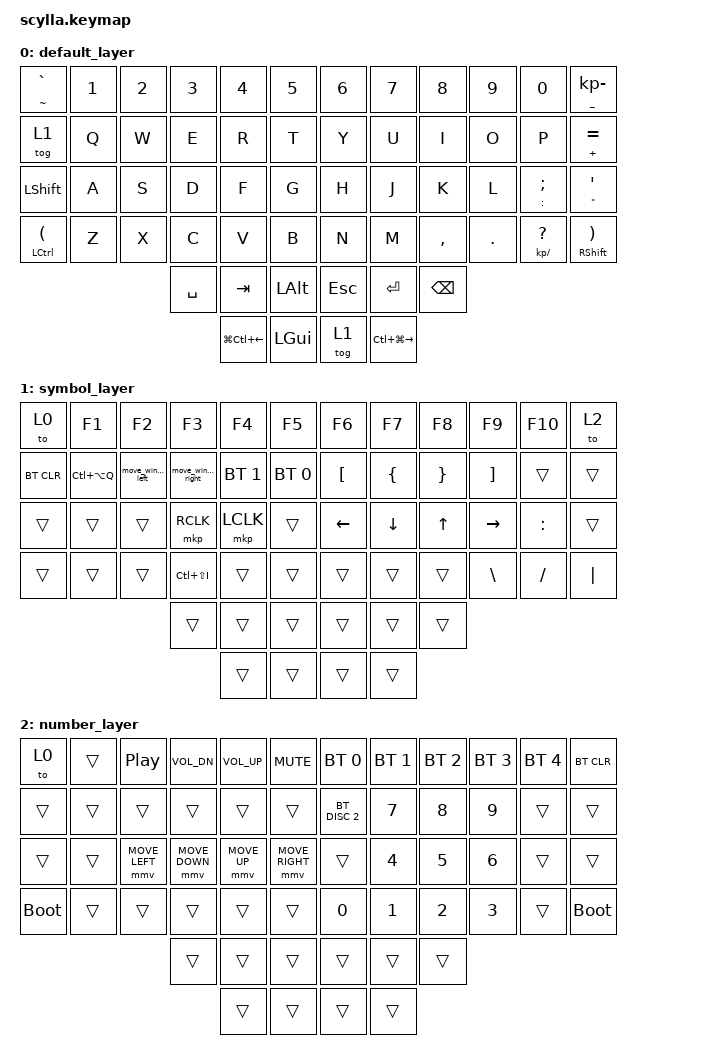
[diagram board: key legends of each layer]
/*
 * Copyright (c) 2020 The ZMK Contributors
 *
 * SPDX-License-Identifier: MIT
 */

#include <behaviors.dtsi>
#include <dt-bindings/zmk/bt.h>
#include <dt-bindings/zmk/keys.h>
#include <dt-bindings/zmk/pointing.h>

&mt {
    flavor = "tap-preferred";
    tapping_term_ms = <200>;
    quick_tap_ms = <200>;
};

/ {
    combos {
        compatible = "zmk,combos";

        forward-slash {
            bindings = <&kp LC(SLASH)>;
            key-positions = <47 31>;
            layers = <0>;
        };
    };

    macros {
        move_window_left: move_window_left {
            compatible = "zmk,behavior-macro";
            #binding-cells = <0>;
            bindings = <&kp LS(LA(LC(H)))>, <&macro_tap>, <&kp LS(LG(LEFT))>;

            label = "MOVE_WINDOW_LEFT";
        };

        move_window_right: move_window_right {
            compatible = "zmk,behavior-macro";
            #binding-cells = <0>;
            bindings = <&kp LS(LA(LC(L)))>, <&macro_tap>, <&kp LS(LG(RIGHT))>;

            label = "MOVE_WINDOW_RIGHT";
        };

        minimize_window: minimize_window {
            compatible = "zmk,behavior-macro";
            #binding-cells = <0>;
            bindings = <&kp LG(DOWN_ARROW)>;
            label = "MINIMIZE_WINDOW";
        };

        maximize_window: maximize_window {
            compatible = "zmk,behavior-macro";
            #binding-cells = <0>;
            bindings = <&kp LG(UP_ARROW)>;
            label = "MAXIMIZE_WINDOW";
        };
    };

    keymap {
        compatible = "zmk,keymap";

        default_layer {
            bindings = <
&mt TILDE GRAVE                    &kp NUMBER_1  &kp NUMBER_2  &kp NUMBER_3  &kp NUMBER_4      &kp NUMBER_5    &kp NUMBER_6  &kp NUMBER_7       &kp NUMBER_8   &kp NUMBER_9  &kp NUMBER_0           &mt UNDERSCORE KP_MINUS
&tog 1                             &kp Q         &kp W         &kp E         &kp R             &kp T           &kp Y         &kp U              &kp I          &kp O         &kp P                  &mt PLUS EQUAL
&kp LEFT_SHIFT                     &kp A         &kp S         &kp D         &kp F             &kp G           &kp H         &kp J              &kp K          &kp L         &mt COLON SEMICOLON    &mt DOUBLE_QUOTES SINGLE_QUOTE
&mt LEFT_CONTROL LEFT_PARENTHESIS  &kp Z         &kp X         &kp C         &kp V             &kp B           &kp N         &kp M              &kp COMMA      &kp DOT       &mt KP_SLASH QUESTION  &mt RIGHT_SHIFT RIGHT_PARENTHESIS
                                                               &kp SPACE     &kp TAB           &kp LEFT_ALT    &kp ESCAPE    &kp ENTER          &kp BACKSPACE
                                                                             &kp LG(LC(LEFT))  &kp LEFT_GUI    &tog 1        &kp LC(LG(RIGHT))
            >;
        };

        symbol_layer {
            bindings = <
&to 0       &kp F1         &kp F2             &kp F3              &kp F4        &kp F5          &kp F6            &kp F7          &kp F8           &kp F9             &kp F10    &to 2
&bt BT_CLR  &kp LC(LA(Q))  &move_window_left  &move_window_right  &bt BT_SEL 1  &bt BT_SEL 0    &kp LEFT_BRACKET  &kp LEFT_BRACE  &kp RIGHT_BRACE  &kp RIGHT_BRACKET  &trans     &trans
&trans      &trans         &trans             &mkp RCLK           &mkp LCLK     &trans          &kp LEFT_ARROW    &kp DOWN_ARROW  &kp UP_ARROW     &kp RIGHT          &kp COLON  &trans
&trans      &trans         &trans             &kp LC(LS(I))       &trans        &trans          &trans            &trans          &trans           &kp BACKSLASH      &kp SLASH  &kp PIPE
                                              &trans              &trans        &trans          &trans            &trans          &trans
                                                                  &trans        &trans          &trans            &trans
            >;
        };

        number_layer {
            bindings = <
&to 0        &trans  &kp C_PP  &kp C_VOL_DN  &kp C_VOL_UP  &kp K_MUTE    &bt BT_SEL 0   &bt BT_SEL 1  &bt BT_SEL 2  &bt BT_SEL 3  &bt BT_SEL 4  &bt BT_CLR
&trans       &trans  &trans    &trans        &trans        &trans        &bt BT_DISC 2  &kp N7        &kp N8        &kp N9        &trans        &trans
&trans       &trans  &mmv MOVE_LEFT  &mmv MOVE_DOWN  &mmv MOVE_UP  &mmv MOVE_RIGHT  &trans         &kp N4        &kp N5        &kp N6        &trans        &trans
&bootloader  &trans  &trans    &trans        &trans        &trans        &kp N0         &kp N1        &kp N2        &kp N3        &trans        &bootloader
                               &trans        &trans        &trans        &trans         &trans        &trans
                                             &trans        &trans        &trans         &trans
            >;
        };
    };
};
